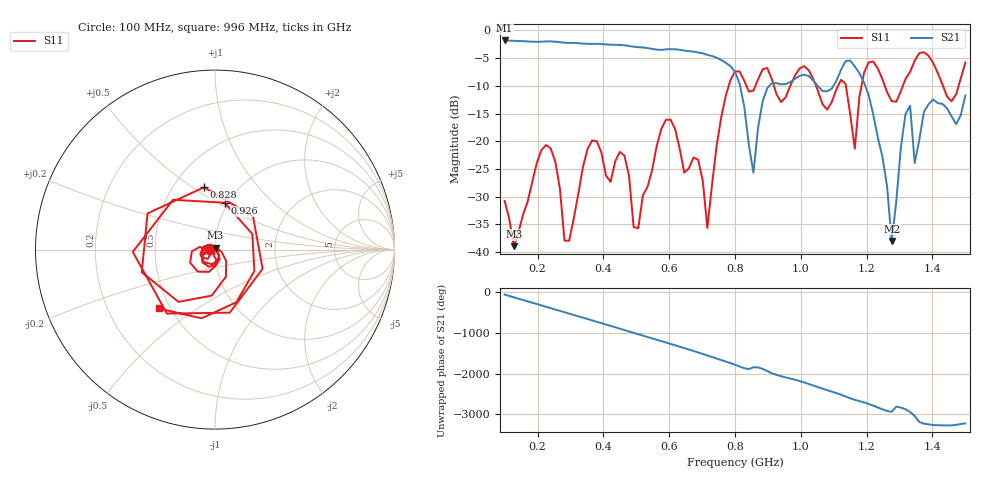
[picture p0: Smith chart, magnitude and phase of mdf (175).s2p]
! NanoVNA-App
! Date: 2025-09-25 15:39:47
! Start: 100MHz Stop: 1,5GHz Points: 101
! S-Parameter data: F S11 S21 S12 S22
# Hz S RI R 50
!  Frequency  S11_Real  S11_Imag  S21_Real  S21_Imag  S12_Real  S12_Imag  S22_Real  S22_Imag
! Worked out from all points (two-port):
!   101 points, 100 MHz to 1.5 GHz, reference 50 ohm
!   highest |S21| = -1.80 dB at 100 MHz (marker M1); lowest = -38.0 dB at 1.276 GHz (marker M2)
!   |S21| within 3 dB of the highest: start of sweep to 739 MHz
!   lowest |S11| = -39.0 dB at 128 MHz (marker M3), VSWR 1.02, Z = 50.3 + j1.08 ohm
!   |S11| at or under -10 dB: start of sweep to 781 MHz; 1.046 GHz to 1.113 GHz (67.19 MHz wide, 6.22 % of centre); 1.255 GHz to 1.31 GHz (54.94 MHz wide, 4.28 % of centre) (the widest 3 of 7)
!   S12 and S22 are empty: the file has one direction only
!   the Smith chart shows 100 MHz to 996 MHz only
!   S11 on the Smith chart (normalised r, x): 100 MHz: 0.94, -0.01; 828 MHz: 0.70, +0.56; 926 MHz: 0.96, +0.54; 996 MHz: 0.43, -0.36
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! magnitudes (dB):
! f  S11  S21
! 100 MHz  -30.8  -1.8
! 128 MHz  -39.0  -1.9
! 212 MHz  -21.6  -2.0
! 282 MHz  -38.0  -2.2
! 338 MHz  -24.7  -2.4
! 464 MHz  -22.6  -2.7
! 506 MHz  -35.7  -3.0
! 576 MHz  -17.8  -3.5
! 716 MHz  -35.7  -4.4
! 800 MHz  -7.4  -7.5
! 828 MHz  -9.1  -13.7
! 856 MHz  -10.9  -25.7
! 926 MHz  -11.5  -9.5
! 996 MHz  -6.9  -8.2
! 1.038 GHz  -8.8  -9.1
! 1.136 GHz  -9.6  -5.5
! 1.164 GHz  -21.3  -6.5
! 1.192 GHz  -7.7  -9.4
! 1.276 GHz  -12.8  -38.0
! 1.318 GHz  -8.8  -15.1
! 1.346 GHz  -5.5  -24.0
! 1.5 GHz  -5.8  -11.8
